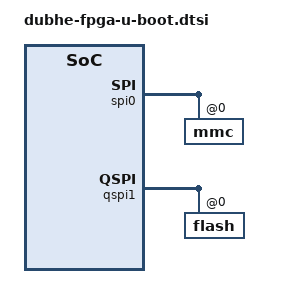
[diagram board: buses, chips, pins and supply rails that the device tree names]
// SPDX-License-Identifier: (GPL-2.0 OR MIT)
/* Copyright (c) 2021 StarFive Technology Co., Ltd. */

/ {
	chosen {
		stdout-path = "serial0";
		bootph-pre-ram;
	};

	config {
		u-boot,spl-payload-offset = <0x42000>;
		bootph-pre-ram;
	};

	cpus {
		bootph-pre-ram;
		cpu@0 {
			bootph-pre-ram;
		};

		cpu@1 {
			bootph-pre-ram;
		};
	};

	memory@80000000 {
		bootph-pre-ram;
	};

	soc {
		bootph-pre-ram;
		dmc: dmc@10280000 {
			compatible = "starfive,dubhe-ddr";
			reg = <0x0 0x10280000 0x0 0x10000
			       0x0 0x10290000 0x0 0x10000
			       0x0 0x102A0000 0x0 0x10000>;
			clocks = <&pbus_clk>;
			clock-frequency = <25000000>;
			bootph-pre-ram;
		};
	};

	binman: binman	{
		multiple-images;

		uboot_fit {
			filename = "u-boot.itb";

			fit {
				description = "Configuration to load OpenSBI before U-Boot";
				#address-cells = <1>;
				fit,fdt-list = "of-list";

				images {
					uboot {
						description = "U-Boot";
						type = "standalone";
						os = "U-Boot";
						arch = "riscv";
						compression = "none";
						load = <CONFIG_TEXT_BASE>;

						uboot_blob: blob-ext {
							filename = "u-boot-nodtb.bin";
						};
					};

					opensbi {
						description = "OpenSBI fw_dynamic Firmware";
						type = "firmware";
						os = "opensbi";
						arch = "riscv";
						compression = "none";
						load = <CONFIG_SPL_OPENSBI_LOAD_ADDR>;
						entry = <CONFIG_SPL_OPENSBI_LOAD_ADDR>;

						opensbi_blob: opensbi {
							filename = "fw_dynamic.bin";
						};
					};

					fdt-90 {
						description = "U-Boot proper device tree binary";
						type = "flat_dt";
						arch = "riscv";
						compression = "none";
						fdt_90_blob: blob-ext {
							filename = "arch/riscv/dts/dubhe90_fpga.dtb";
						};
					};

					fdt-80 {
						description = "U-Boot proper device tree binary";
						type = "flat_dt";
						arch = "riscv";
						compression = "none";
						fdt_80_blob: blob-ext {
							filename = "arch/riscv/dts/dubhe80_fpga.dtb";
						};
					};

					fdt-70 {
						description = "U-Boot proper device tree binary";
						type = "flat_dt";
						arch = "riscv";
						compression = "none";
						fdt_70_blob: blob-ext {
							filename = "arch/riscv/dts/dubhe70_fpga.dtb";
						};
					};
				};

				configurations {
					default = "conf-90";
					conf-90 {
						description = "conf-90";
						firmware = "opensbi";
						loadables = "uboot";
						fdt = "fdt-90";
					};

					conf-80 {
						description = "conf-80";
						firmware = "opensbi";
						loadables = "uboot";
						fdt = "fdt-80";
					};

					conf-70 {
						description = "conf-70";
						firmware = "opensbi";
						loadables = "uboot";
						fdt = "fdt-70";
					};
				};
			};
		};
	};
};

&clint {
	clocks = <&pbus_clk>;
	bootph-pre-ram;
};

&gmac0 {
	mac-address = [de ad be ef de ad];
};

&pbus_clk {
	bootph-pre-ram;
};

&plic0 {
	bootph-pre-ram;
};

&spi0 {
	bootph-pre-ram;
	
	mmc@0 {
		bootph-pre-ram;
	};
};

&qspi1 {
	bootph-pre-ram;

	flash@0 {
		bootph-pre-ram;
	};
};

&uart0 {
	bootph-pre-ram;
};

&pbus_clk {
	bootph-pre-ram;
};

&cpu0_intc {
	bootph-pre-ram;
};
